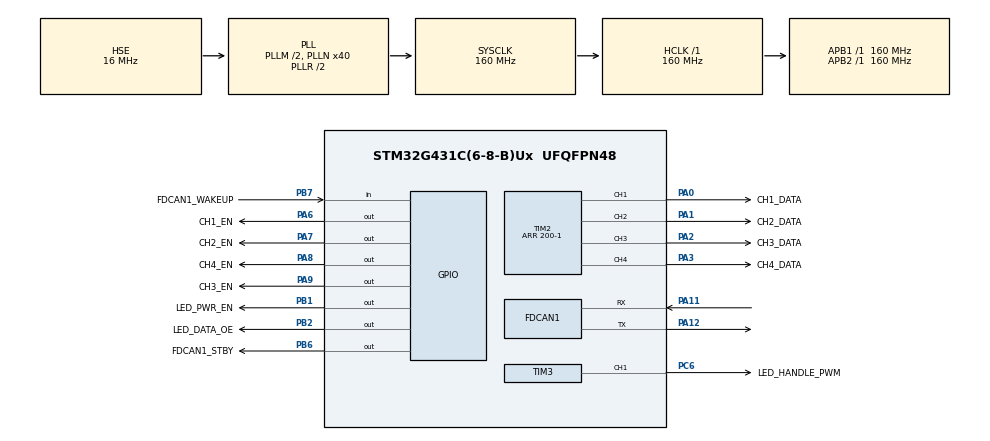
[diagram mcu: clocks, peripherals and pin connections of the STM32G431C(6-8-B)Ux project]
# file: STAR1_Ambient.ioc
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Dma.Request0=TIM2_CH1
Dma.Request1=TIM2_CH2
Dma.Request2=TIM2_CH3
Dma.Request3=TIM2_CH4
Dma.TIM2_CH1.0.Direction=DMA_MEMORY_TO_PERIPH
Dma.TIM2_CH1.0.EventEnable=DISABLE
Dma.TIM2_CH1.0.Instance=DMA1_Channel1
Dma.TIM2_CH1.0.MemDataAlignment=DMA_MDATAALIGN_WORD
Dma.TIM2_CH1.0.MemInc=DMA_MINC_ENABLE
Dma.TIM2_CH1.0.Mode=DMA_NORMAL
Dma.TIM2_CH1.0.PeriphDataAlignment=DMA_PDATAALIGN_WORD
Dma.TIM2_CH1.0.PeriphInc=DMA_PINC_DISABLE
Dma.TIM2_CH1.0.Polarity=HAL_DMAMUX_REQ_GEN_RISING
Dma.TIM2_CH1.0.Priority=DMA_PRIORITY_VERY_HIGH
Dma.TIM2_CH1.0.RequestNumber=1
Dma.TIM2_CH1.0.SignalID=NONE
Dma.TIM2_CH1.0.SyncEnable=DISABLE
Dma.TIM2_CH1.0.SyncPolarity=HAL_DMAMUX_SYNC_NO_EVENT
Dma.TIM2_CH1.0.SyncRequestNumber=1
Dma.TIM2_CH1.0.SyncSignalID=NONE
Dma.TIM2_CH2.1.Direction=DMA_MEMORY_TO_PERIPH
Dma.TIM2_CH2.1.EventEnable=DISABLE
Dma.TIM2_CH2.1.Instance=DMA1_Channel2
Dma.TIM2_CH2.1.MemDataAlignment=DMA_MDATAALIGN_WORD
Dma.TIM2_CH2.1.MemInc=DMA_MINC_ENABLE
Dma.TIM2_CH2.1.Mode=DMA_NORMAL
Dma.TIM2_CH2.1.PeriphDataAlignment=DMA_PDATAALIGN_WORD
Dma.TIM2_CH2.1.PeriphInc=DMA_PINC_DISABLE
Dma.TIM2_CH2.1.Polarity=HAL_DMAMUX_REQ_GEN_RISING
Dma.TIM2_CH2.1.Priority=DMA_PRIORITY_HIGH
Dma.TIM2_CH2.1.RequestNumber=1
Dma.TIM2_CH2.1.SignalID=NONE
Dma.TIM2_CH2.1.SyncEnable=DISABLE
Dma.TIM2_CH2.1.SyncPolarity=HAL_DMAMUX_SYNC_NO_EVENT
Dma.TIM2_CH2.1.SyncRequestNumber=1
Dma.TIM2_CH2.1.SyncSignalID=NONE
Dma.TIM2_CH3.2.Direction=DMA_MEMORY_TO_PERIPH
Dma.TIM2_CH3.2.EventEnable=DISABLE
Dma.TIM2_CH3.2.Instance=DMA1_Channel3
Dma.TIM2_CH3.2.MemDataAlignment=DMA_MDATAALIGN_WORD
Dma.TIM2_CH3.2.MemInc=DMA_MINC_ENABLE
Dma.TIM2_CH3.2.Mode=DMA_NORMAL
Dma.TIM2_CH3.2.PeriphDataAlignment=DMA_PDATAALIGN_WORD
Dma.TIM2_CH3.2.PeriphInc=DMA_PINC_DISABLE
Dma.TIM2_CH3.2.Polarity=HAL_DMAMUX_REQ_GEN_RISING
Dma.TIM2_CH3.2.Priority=DMA_PRIORITY_HIGH
Dma.TIM2_CH3.2.RequestNumber=1
Dma.TIM2_CH3.2.SignalID=NONE
Dma.TIM2_CH3.2.SyncEnable=DISABLE
Dma.TIM2_CH3.2.SyncPolarity=HAL_DMAMUX_SYNC_NO_EVENT
Dma.TIM2_CH3.2.SyncRequestNumber=1
Dma.TIM2_CH3.2.SyncSignalID=NONE
Dma.TIM2_CH4.3.Direction=DMA_MEMORY_TO_PERIPH
Dma.TIM2_CH4.3.EventEnable=DISABLE
Dma.TIM2_CH4.3.Instance=DMA1_Channel4
Dma.TIM2_CH4.3.MemDataAlignment=DMA_MDATAALIGN_WORD
Dma.TIM2_CH4.3.MemInc=DMA_MINC_ENABLE
Dma.TIM2_CH4.3.Mode=DMA_NORMAL
Dma.TIM2_CH4.3.PeriphDataAlignment=DMA_PDATAALIGN_WORD
Dma.TIM2_CH4.3.PeriphInc=DMA_PINC_DISABLE
Dma.TIM2_CH4.3.Polarity=HAL_DMAMUX_REQ_GEN_RISING
Dma.TIM2_CH4.3.Priority=DMA_PRIORITY_HIGH
Dma.TIM2_CH4.3.RequestNumber=1
Dma.TIM2_CH4.3.SignalID=NONE
Dma.TIM2_CH4.3.SyncEnable=DISABLE
Dma.TIM2_CH4.3.SyncPolarity=HAL_DMAMUX_SYNC_NO_EVENT
Dma.TIM2_CH4.3.SyncRequestNumber=1
Dma.TIM2_CH4.3.SyncSignalID=NONE
FDCAN1.AutoRetransmission=ENABLE
FDCAN1.CalculateBaudRateNominal=125000
FDCAN1.CalculateTimeBitNominal=8000
FDCAN1.CalculateTimeQuantumNominal=500.0
FDCAN1.ClockDivider=FDCAN_CLOCK_DIV1
FDCAN1.NominalPrescaler=40
FDCAN1.NominalTimeSeg1=13
FDCAN1.NominalTimeSeg2=2
IWDG.Prescaler=IWDG_PRESCALER_64
Mcu.Family=STM32G4
Mcu.Name=STM32G431C(6-8-B)Ux
Mcu.Package=UFQFPN48
NVIC.DMA1_Channel1_IRQn=true\:0\:0\:false\:false\:true\:false\:true\:true
NVIC.DMA1_Channel2_IRQn=true\:0\:0\:false\:false\:true\:false\:true\:true
NVIC.DMA1_Channel3_IRQn=true\:0\:0\:false\:false\:true\:false\:true\:true
NVIC.DMA1_Channel4_IRQn=true\:0\:0\:false\:false\:true\:false\:true\:true
NVIC.FDCAN1_IT0_IRQn=true\:0\:0\:false\:false\:true\:true\:true\:true
NVIC.FDCAN1_IT1_IRQn=true\:0\:0\:false\:false\:true\:true\:true\:true
NVIC.PriorityGroup=NVIC_PRIORITYGROUP_4
PA0.GPIO_Label=CH1_DATA
PA0.GPIO_Speed=GPIO_SPEED_FREQ_HIGH
PA0.Signal=S_TIM2_CH1
PA1.GPIO_Label=CH2_DATA
PA1.GPIO_Speed=GPIO_SPEED_FREQ_HIGH
PA1.Signal=S_TIM2_CH2
PA11.GPIO_Mode=GPIO_MODE_AF_PP
PA11.GPIO_Speed=GPIO_SPEED_FREQ_HIGH
PA11.Mode=FDCAN_Activate
PA11.Signal=FDCAN1_RX
PA12.GPIO_Mode=GPIO_MODE_AF_PP
PA12.GPIO_Speed=GPIO_SPEED_FREQ_HIGH
PA12.Mode=FDCAN_Activate
PA12.Signal=FDCAN1_TX
PA13.Mode=Serial_Wire
PA13.Signal=SYS_JTMS-SWDIO
PA14.Mode=Serial_Wire
PA14.Signal=SYS_JTCK-SWCLK
PA2.GPIO_Label=CH3_DATA
PA2.GPIO_Speed=GPIO_SPEED_FREQ_HIGH
PA2.Signal=S_TIM2_CH3
PA3.GPIO_Label=CH4_DATA
PA3.GPIO_Speed=GPIO_SPEED_FREQ_HIGH
PA3.Signal=S_TIM2_CH4
PA6.GPIO_Label=CH1_EN
PA6.Signal=GPIO_Output
PA7.GPIO_Label=CH2_EN
PA7.Signal=GPIO_Output
PA8.GPIO_Label=CH4_EN
PA8.Signal=GPIO_Output
PA9.GPIO_Label=CH3_EN
PA9.Signal=GPIO_Output
PB1.GPIO_Label=LED_PWR_EN
PB1.Signal=GPIO_Output
PB2.GPIO_Label=LED_DATA_OE
PB2.PinState=GPIO_PIN_SET
PB2.Signal=GPIO_Output
PB6.GPIO_Label=FDCAN1_STBY
PB6.PinState=GPIO_PIN_SET
PB6.Signal=GPIO_Output
PB7.GPIO_Label=FDCAN1_WAKEUP
PB7.Signal=GPIO_Input
PC6.GPIO_Label=LED_HANDLE_PWM
PC6.Signal=S_TIM3_CH1
PF0-OSC_IN.Mode=HSE-External-Oscillator
PF0-OSC_IN.Signal=RCC_OSC_IN
PF1-OSC_OUT.Mode=HSE-External-Oscillator
PF1-OSC_OUT.Signal=RCC_OSC_OUT
ProjectManager.HeapSize=0x200
ProjectManager.StackSize=0x400
ProjectManager.TargetToolchain=STM32CubeIDE
RCC.ADC12Freq_Value=160000000
RCC.AHBFreq_Value=160000000
RCC.APB1Freq_Value=160000000
RCC.APB1TimFreq_Value=160000000
RCC.APB2Freq_Value=160000000
RCC.APB2TimFreq_Value=160000000
RCC.CortexFreq_Value=160000000
RCC.EXTERNAL_CLOCK_VALUE=12288000
RCC.FDCANCLockSelection=RCC_FDCANCLKSOURCE_PLL
RCC.HCLKFreq_Value=160000000
RCC.HSE_VALUE=16000000
RCC.HSI48_VALUE=48000000
RCC.HSI_VALUE=16000000
RCC.LSE_VALUE=32768
RCC.PLLM=RCC_PLLM_DIV2
RCC.PLLN=40
RCC.PLLQ=RCC_PLLQ_DIV4
RCC.PLLSourceVirtual=RCC_PLLSOURCE_HSE
RCC.SYSCLKFreq_VALUE=160000000
RCC.SYSCLKSource=RCC_SYSCLKSOURCE_PLLCLK
RCC.USBFreq_Value=80000000
RCC.VCOOutputFreq_Value=320000000
SH.S_TIM2_CH1.0=TIM2_CH1,PWM Generation1 CH1
SH.S_TIM2_CH2.0=TIM2_CH2,PWM Generation2 CH2
SH.S_TIM2_CH3.0=TIM2_CH3,PWM Generation3 CH3
SH.S_TIM2_CH4.0=TIM2_CH4,PWM Generation4 CH4
SH.S_TIM3_CH1.0=TIM3_CH1,PWM Generation1 CH1
TIM2.Channel-PWM\ Generation1\ CH1=TIM_CHANNEL_1
TIM2.Channel-PWM\ Generation2\ CH2=TIM_CHANNEL_2
TIM2.Channel-PWM\ Generation3\ CH3=TIM_CHANNEL_3
TIM2.Channel-PWM\ Generation4\ CH4=TIM_CHANNEL_4
TIM2.PeriodNoDither=200-1
TIM3.AutoReloadPreload=TIM_AUTORELOAD_PRELOAD_DISABLE
TIM3.Channel-PWM\ Generation1\ CH1=TIM_CHANNEL_1
TIM3.PeriodNoDither=49
TIM3.Prescaler=159
VP_IWDG_VS_IWDG.Mode=IWDG_Activate
VP_SYS_VS_DBSignals.Mode=DisableDeadBatterySignals
VP_TIM2_VS_ClockSourceINT.Mode=Internal
VP_TIM3_VS_ClockSourceINT.Mode=Internal
board=custom

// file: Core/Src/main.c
/* USER CODE BEGIN Header */
/**
 ******************************************************************************
 * @file           : main.c
 * @brief          : Main program body
 ******************************************************************************
 * @attention
 *
 * Copyright (c) 2025 STMicroelectronics.
 * All rights reserved.
 *
 * This software is licensed under terms that can be found in the LICENSE file
 * in the root directory of this software component.
 * If no LICENSE file comes with this software, it is provided AS-IS.
 *
 ******************************************************************************
 */
/* USER CODE END Header */
#include "main.h"

/* USER CODE BEGIN Includes */
#include "board_selected.h" /* defines BOARD_TYPE for the whole firmware build. */
#include "board_dispatch.h"
#include "base_scene.h"
#include "director.h"
#include "event_layer.h"
#include "zones.h"
#include "zone_roles.h"
#include "ambient.h"
#include "ambient_config.h"
#include "handle_pwm.h"
#include "runtime_event_queue.h"
#include "runtime_debug_hooks.h"
#include "runtime_flow.h"
#include "app_runtime.h"
#include <string.h>
/* USER CODE END Includes */

#if AMB_ENABLE_WATCHDOG
#if (AMB_STOP_WDG_WAKEUP_SEC * 1000u) >= AMB_WATCHDOG_TIMEOUT_MS
#error "AMB_STOP_WDG_WAKEUP_SEC must be lower than AMB_WATCHDOG_TIMEOUT_MS."
#endif
#endif

FDCAN_HandleTypeDef hfdcan1;

IWDG_HandleTypeDef hiwdg;

TIM_HandleTypeDef htim2;
TIM_HandleTypeDef htim3;
DMA_HandleTypeDef hdma_tim2_ch1;
DMA_HandleTypeDef hdma_tim2_ch2;
DMA_HandleTypeDef hdma_tim2_ch3;
DMA_HandleTypeDef hdma_tim2_ch4;

/* USER CODE BEGIN PV */
base_scene_t g_base_scene;             // base scene
director_t g_director;                 // orchestration/director layer
oem_color_id_t g_oem_color;            // current OEM color selector

uint32_t g_last_tick_ms = 0;          // delta_ms source for runtime tick

static uint8_t g_can_protocol_started = 0;  // first OEM packet received
static uint32_t g_can_protocol_start_ms = 0;
static uint32_t g_wait_oem_enter_ms = 0u;
static uint8_t g_wait_oem_after_wake = 0u;

#if AMB_ENABLE_SLEEP_MODE
static uint8_t g_sleep_fade_active = 0;      // sleep fade-out is active
static uint32_t g_sleep_fade_start_ms = 0;   // sleep fade start timestamp
static float g_sleep_fade_start_brightness = 1.0f; // brightness at fade start
#endif
static runtime_mode_t g_runtime_state = RUNTIME_BOOT;
static runtime_flow_ctx_t g_runtime_flow;

/* USER CODE END PV */

void SystemClock_Config(void);
static void MX_GPIO_Init(void);
static void MX_DMA_Init(void);
static void MX_FDCAN1_Init(void);
static void MX_IWDG_Init(void);
static void MX_TIM2_Init(void);
static void MX_TIM3_Init(void);
#if AMB_ENABLE_SLEEP_MODE && AMB_ENABLE_WATCHDOG
static void rtc_wakeup_init_1hz(void);
static void rtc_wakeup_start_1s(void);
static void rtc_wakeup_stop(void);
#endif

/* USER CODE BEGIN 0 */

#if AMB_ENABLE_SLEEP_MODE
/**
 * @brief Configure PA11 (FDCAN_RX) as EXTI wake source for STOP mode.
 */
static void configure_can_rx_exti_wakeup(void)
{
    GPIO_InitTypeDef GPIO_InitStruct = {0};

    /* Reconfigure PA11 as EXTI input (falling edge). */
    GPIO_InitStruct.Pin = GPIO_PIN_11;
    GPIO_InitStruct.Mode = GPIO_MODE_IT_FALLING;  /* CAN dominant = low */
    GPIO_InitStruct.Pull = GPIO_PULLUP;
    HAL_GPIO_Init(GPIOA, &GPIO_InitStruct);

    __HAL_GPIO_EXTI_CLEAR_IT(GPIO_PIN_11);

    /* Enable EXTI IRQs. */
    HAL_NVIC_SetPriority(EXTI15_10_IRQn, 0, 0);
    HAL_NVIC_EnableIRQ(EXTI15_10_IRQn);

#if AMB_ENABLE_TRANSCEIVER_WAKE_PIN
    /* Additional wake source from CAN transceiver WAKE/INT (PB7). */
    GPIO_InitStruct.Pin = FDCAN1_WAKEUP_Pin;
    GPIO_InitStruct.Mode = GPIO_MODE_IT_RISING_FALLING;
    GPIO_InitStruct.Pull = GPIO_NOPULL;
    HAL_GPIO_Init(FDCAN1_WAKEUP_GPIO_Port, &GPIO_InitStruct);
    __HAL_GPIO_EXTI_CLEAR_IT(FDCAN1_WAKEUP_Pin);
    HAL_NVIC_SetPriority(EXTI9_5_IRQn, 0, 0);
    HAL_NVIC_EnableIRQ(EXTI9_5_IRQn);
#endif
}

/**
 * @brief Restore PA11 as FDCAN_RX after wakeup.
 */
static void restore_can_rx_af(void)
{
    GPIO_InitTypeDef GPIO_InitStruct = {0};

    /* Disable EXTI IRQs. */
    HAL_NVIC_DisableIRQ(EXTI15_10_IRQn);
#if AMB_ENABLE_TRANSCEIVER_WAKE_PIN
    HAL_NVIC_DisableIRQ(EXTI9_5_IRQn);
#endif
    __HAL_GPIO_EXTI_CLEAR_IT(GPIO_PIN_11);
#if AMB_ENABLE_TRANSCEIVER_WAKE_PIN
    __HAL_GPIO_EXTI_CLEAR_IT(FDCAN1_WAKEUP_Pin);
#endif

    /* Restore alternate-function mapping for FDCAN. */
    GPIO_InitStruct.Pin = GPIO_PIN_11 | GPIO_PIN_12;
    GPIO_InitStruct.Mode = GPIO_MODE_AF_PP;
    GPIO_InitStruct.Pull = GPIO_NOPULL;
    GPIO_InitStruct.Speed = GPIO_SPEED_FREQ_HIGH;
    GPIO_InitStruct.Alternate = GPIO_AF9_FDCAN1;
    HAL_GPIO_Init(GPIOA, &GPIO_InitStruct);

#if AMB_ENABLE_TRANSCEIVER_WAKE_PIN
    /* Restore PB7 to normal GPIO input (without EXTI). */
    GPIO_InitStruct.Pin = FDCAN1_WAKEUP_Pin;
    GPIO_InitStruct.Mode = GPIO_MODE_INPUT;
    GPIO_InitStruct.Pull = GPIO_NOPULL;
    HAL_GPIO_Init(FDCAN1_WAKEUP_GPIO_Port, &GPIO_InitStruct);
#endif
}
#endif

#if AMB_ENABLE_SLEEP_MODE && AMB_ENABLE_WATCHDOG
/**
 * @brief Initialize RTC wakeup time base (LSI -> RTC, 1Hz ck_spre).
 */
static void rtc_wakeup_init_1hz(void)
{
    __HAL_RCC_PWR_CLK_ENABLE();
    HAL_PWR_EnableBkUpAccess();

    __HAL_RCC_LSI_ENABLE();
    while (__HAL_RCC_GET_FLAG(RCC_FLAG_LSIRDY) == RESET) {
    }

    if (__HAL_RCC_GET_RTC_SOURCE() != RCC_RTCCLKSOURCE_LSI) {
        __HAL_RCC_BACKUPRESET_FORCE();
        __HAL_RCC_BACKUPRESET_RELEASE();
        __HAL_RCC_RTC_CONFIG(RCC_RTCCLKSOURCE_LSI);
    }

    __HAL_RCC_RTC_ENABLE();
    __HAL_RCC_RTCAPB_CLK_ENABLE();

    /* Disable write protection */
    RTC->WPR = 0xCA;
    RTC->WPR = 0x53;

    /* Enter init mode */
    RTC->ICSR |= RTC_ICSR_INIT;
    while ((RTC->ICSR & RTC_ICSR_INITF) == 0u) {
    }

    /* 1Hz ck_spre from 32k-ish LSI: 32768 / ((127+1)*(255+1)) = 1Hz */
    RTC->PRER = ((uint32_t)127u << 16) | 255u;

    /* Exit init mode */
    RTC->ICSR &= ~RTC_ICSR_INIT;

    /* Keep wakeup timer disabled until sleep entry */
    RTC->CR &= ~(RTC_CR_WUTE | RTC_CR_WUTIE | RTC_CR_WUCKSEL);
    RTC->SCR = RTC_SCR_CWUTF;

    /* Enable write protection */
    RTC->WPR = 0xFF;
}

/**
 * @brief Start periodic RTC wakeup IRQ at 1-second interval.
 */
static void rtc_wakeup_start_1s(void)
{
    uint32_t wakeup_period_s = AMB_STOP_WDG_WAKEUP_SEC;

    __HAL_RCC_RTCAPB_CLK_ENABLE();

    RTC->WPR = 0xCA;
    RTC->WPR = 0x53;

    /* Disable WUT and wait for write access */
    RTC->CR &= ~RTC_CR_WUTE;
    while ((RTC->ICSR & RTC_ICSR_WUTWF) == 0u) {
    }

    /* ck_spre (1Hz), period = WUTR+1 => AMB_STOP_WDG_WAKEUP_SEC seconds */
    if (wakeup_period_s == 0u) wakeup_period_s = 1u;
    if (wakeup_period_s > 0x10000u) wakeup_period_s = 0x10000u;
    RTC->WUTR = wakeup_period_s - 1u;
    RTC->CR = (RTC->CR & ~RTC_CR_WUCKSEL) | RTC_CR_WUCKSEL_2;
    RTC->SCR = RTC_SCR_CWUTF;

    EXTI->PR1 = EXTI_PR1_PIF20;
    EXTI->IMR1 |= EXTI_IMR1_IM20;
    EXTI->RTSR1 |= EXTI_RTSR1_RT20;
    EXTI->FTSR1 &= ~EXTI_FTSR1_FT20;

    NVIC_SetPriority(RTC_WKUP_IRQn, 0);
    NVIC_EnableIRQ(RTC_WKUP_IRQn);

    RTC->CR |= RTC_CR_WUTIE;
    RTC->CR |= RTC_CR_WUTE;

    RTC->WPR = 0xFF;
}

/**
 * @brief Stop RTC wakeup IRQ.
 */
static void rtc_wakeup_stop(void)
{
    __HAL_RCC_RTCAPB_CLK_ENABLE();

    RTC->WPR = 0xCA;
    RTC->WPR = 0x53;

    RTC->CR &= ~(RTC_CR_WUTIE | RTC_CR_WUTE);
    RTC->SCR = RTC_SCR_CWUTF;

    RTC->WPR = 0xFF;

    EXTI->IMR1 &= ~EXTI_IMR1_IM20;
    EXTI->RTSR1 &= ~EXTI_RTSR1_RT20;
    EXTI->FTSR1 &= ~EXTI_FTSR1_FT20;
    EXTI->PR1 = EXTI_PR1_PIF20;

    NVIC_DisableIRQ(RTC_WKUP_IRQn);
}
#endif

/* USER CODE END 0 */

int main(void)
{

  /* MCU Configuration--------------------------------------------------------*/

  /* Reset of all peripherals, Initializes the Flash interface and the Systick. */
  HAL_Init();

  /* Configure the system clock */
  SystemClock_Config();

  /* Initialize all configured peripherals */
  MX_GPIO_Init();
  MX_DMA_Init();
  MX_FDCAN1_Init();
  MX_IWDG_Init();
  MX_TIM2_Init();
  MX_TIM3_Init();
  /* USER CODE BEGIN 2 */

#if AMB_ENABLE_SLEEP_MODE && AMB_ENABLE_WATCHDOG
	rtc_wakeup_init_1hz();
#endif

	// 1) Initialize board (TIM2 + all LED lines/zones, power off by default)
	board_dispatch_led_init();
	handle_pwm_init(&htim3, TIM_CHANNEL_1);
	handle_pwm_set_brightness_pct(100u);

	// 2) Initialize CAN ambient stack (loads settings from Flash)
	can_ambient_init(&hfdcan1);
	runtime_event_queue_init();
	runtime_debug_hooks_init();
	runtime_debug_hooks_set_self_check_ok(zone_roles_debug_self_check());

	// 3) Seed defaults (will be updated from CAN)
	g_oem_color = OEM_COLOR_AMBER;

	// 4) Initialize runtime scene/director layers
	base_scene_init(&g_base_scene);
	director_init(&g_director);
	event_layer_init();
	memset(&g_runtime_flow, 0, sizeof(g_runtime_flow));
	g_runtime_flow.runtime_state = &g_runtime_state;
	g_runtime_flow.can_protocol_started = &g_can_protocol_started;
	g_runtime_flow.can_protocol_start_ms = &g_can_protocol_start_ms;
	g_runtime_flow.wait_oem_enter_ms = &g_wait_oem_enter_ms;
	g_runtime_flow.wait_oem_after_wake = &g_wait_oem_after_wake;
	g_runtime_flow.last_tick_ms = &g_last_tick_ms;
#if AMB_ENABLE_SLEEP_MODE
	g_runtime_flow.sleep_fade_active = &g_sleep_fade_active;
	g_runtime_flow.sleep_fade_start_ms = &g_sleep_fade_start_ms;
	g_runtime_flow.sleep_fade_start_brightness = &g_sleep_fade_start_brightness;
#endif
	g_runtime_flow.base_scene = &g_base_scene;
	g_runtime_flow.director = &g_director;
	g_runtime_flow.oem_color = &g_oem_color;
	g_runtime_flow.watchdog = &hiwdg;
	g_runtime_flow.system_clock_restore = SystemClock_Config;
#if AMB_ENABLE_SLEEP_MODE
	g_runtime_flow.prepare_wakeup_io = configure_can_rx_exti_wakeup;
	g_runtime_flow.restore_after_wake = restore_can_rx_af;
#if AMB_ENABLE_WATCHDOG
	g_runtime_flow.rtc_wakeup_start = rtc_wakeup_start_1s;
	g_runtime_flow.rtc_wakeup_stop = rtc_wakeup_stop;
#endif
#endif

	runtime_flow_set_state(&g_runtime_flow, RUNTIME_WAIT_OEM);
	// In normal mode, scene stays in BASE_SCENE_IDLE until first OEM CAN packet.

	g_last_tick_ms = HAL_GetTick();

  /* USER CODE END 2 */

  /* Infinite loop */
	while (1) {

    /* USER CODE BEGIN 3 */
		app_runtime_tick(&g_runtime_flow,
						 &g_last_tick_ms,
						 &g_can_protocol_started,
						 &g_can_protocol_start_ms);
		if (app_runtime_should_idle_wfi()) {
			__WFI();
		}

#if AMB_ENABLE_WATCHDOG
		/* Feed watchdog to prevent reset */
		HAL_IWDG_Refresh(&hiwdg);
#endif
	}
  /* USER CODE END 3 */
}

void SystemClock_Config(void)
{
  RCC_OscInitTypeDef RCC_OscInitStruct = {0};
  RCC_ClkInitTypeDef RCC_ClkInitStruct = {0};

  /** Configure the main internal regulator output voltage
  */
  HAL_PWREx_ControlVoltageScaling(PWR_REGULATOR_VOLTAGE_SCALE1_BOOST);

  /** Initializes the RCC Oscillators according to the specified parameters
  * in the RCC_OscInitTypeDef structure.
  */
  RCC_OscInitStruct.OscillatorType = RCC_OSCILLATORTYPE_LSI|RCC_OSCILLATORTYPE_HSE;
  RCC_OscInitStruct.HSEState = RCC_HSE_ON;
  RCC_OscInitStruct.LSIState = RCC_LSI_ON;
  RCC_OscInitStruct.PLL.PLLState = RCC_PLL_ON;
  RCC_OscInitStruct.PLL.PLLSource = RCC_PLLSOURCE_HSE;
  RCC_OscInitStruct.PLL.PLLM = RCC_PLLM_DIV2;
  RCC_OscInitStruct.PLL.PLLN = 40;
  RCC_OscInitStruct.PLL.PLLP = RCC_PLLP_DIV2;
  RCC_OscInitStruct.PLL.PLLQ = RCC_PLLQ_DIV4;
  RCC_OscInitStruct.PLL.PLLR = RCC_PLLR_DIV2;
  if (HAL_RCC_OscConfig(&RCC_OscInitStruct) != HAL_OK)
  {
    Error_Handler();
  }

  /** Initializes the CPU, AHB and APB buses clocks
  */
  RCC_ClkInitStruct.ClockType = RCC_CLOCKTYPE_HCLK|RCC_CLOCKTYPE_SYSCLK
                              |RCC_CLOCKTYPE_PCLK1|RCC_CLOCKTYPE_PCLK2;
  RCC_ClkInitStruct.SYSCLKSource = RCC_SYSCLKSOURCE_PLLCLK;
  RCC_ClkInitStruct.AHBCLKDivider = RCC_SYSCLK_DIV1;
  RCC_ClkInitStruct.APB1CLKDivider = RCC_HCLK_DIV1;
  RCC_ClkInitStruct.APB2CLKDivider = RCC_HCLK_DIV1;

  if (HAL_RCC_ClockConfig(&RCC_ClkInitStruct, FLASH_LATENCY_4) != HAL_OK)
  {
    Error_Handler();
  }
}

static void MX_FDCAN1_Init(void)
{

  hfdcan1.Instance = FDCAN1;
  hfdcan1.Init.ClockDivider = FDCAN_CLOCK_DIV1;
  hfdcan1.Init.FrameFormat = FDCAN_FRAME_CLASSIC;
  hfdcan1.Init.Mode = FDCAN_MODE_NORMAL;
  hfdcan1.Init.AutoRetransmission = ENABLE;
  hfdcan1.Init.TransmitPause = DISABLE;
  hfdcan1.Init.ProtocolException = DISABLE;
  /* Stable 125 kbit/s for current clock tree (HSE=16 MHz, FDCAN from PLLQ=80 MHz).
   * NOTE: If clock tree is changed, recalculate this value explicitly. */
  hfdcan1.Init.NominalPrescaler = 40;
  hfdcan1.Init.NominalSyncJumpWidth = 1;
  hfdcan1.Init.NominalTimeSeg1 = 13;
  hfdcan1.Init.NominalTimeSeg2 = 2;
  hfdcan1.Init.DataPrescaler = 1;
  hfdcan1.Init.DataSyncJumpWidth = 1;
  hfdcan1.Init.DataTimeSeg1 = 1;
  hfdcan1.Init.DataTimeSeg2 = 1;
  hfdcan1.Init.StdFiltersNbr = 24;
  hfdcan1.Init.ExtFiltersNbr = 0;
  hfdcan1.Init.TxFifoQueueMode = FDCAN_TX_FIFO_OPERATION;
  if (HAL_FDCAN_Init(&hfdcan1) != HAL_OK)
  {
    Error_Handler();
  }

}

static void MX_IWDG_Init(void)
{

  hiwdg.Instance = IWDG;
  hiwdg.Init.Prescaler = IWDG_PRESCALER_64;
  hiwdg.Init.Window = 4095;
  hiwdg.Init.Reload = 4095;
  if (HAL_IWDG_Init(&hiwdg) != HAL_OK)
  {
    Error_Handler();
  }

}

static void MX_TIM2_Init(void)
{

  TIM_ClockConfigTypeDef sClockSourceConfig = {0};
  TIM_MasterConfigTypeDef sMasterConfig = {0};
  TIM_OC_InitTypeDef sConfigOC = {0};

  htim2.Instance = TIM2;
  htim2.Init.Prescaler = 0;
  htim2.Init.CounterMode = TIM_COUNTERMODE_UP;
  htim2.Init.Period = 199;
  htim2.Init.ClockDivision = TIM_CLOCKDIVISION_DIV1;
  htim2.Init.AutoReloadPreload = TIM_AUTORELOAD_PRELOAD_DISABLE;
  if (HAL_TIM_Base_Init(&htim2) != HAL_OK)
  {
    Error_Handler();
  }
  sClockSourceConfig.ClockSource = TIM_CLOCKSOURCE_INTERNAL;
  if (HAL_TIM_ConfigClockSource(&htim2, &sClockSourceConfig) != HAL_OK)
  {
    Error_Handler();
  }
  if (HAL_TIM_PWM_Init(&htim2) != HAL_OK)
  {
    Error_Handler();
  }
  sMasterConfig.MasterOutputTrigger = TIM_TRGO_RESET;
  sMasterConfig.MasterSlaveMode = TIM_MASTERSLAVEMODE_DISABLE;
  if (HAL_TIMEx_MasterConfigSynchronization(&htim2, &sMasterConfig) != HAL_OK)
  {
    Error_Handler();
  }
  sConfigOC.OCMode = TIM_OCMODE_PWM1;
  sConfigOC.Pulse = 0;
  sConfigOC.OCPolarity = TIM_OCPOLARITY_HIGH;
  sConfigOC.OCFastMode = TIM_OCFAST_DISABLE;
  if (HAL_TIM_PWM_ConfigChannel(&htim2, &sConfigOC, TIM_CHANNEL_1) != HAL_OK)
  {
    Error_Handler();
  }
  if (HAL_TIM_PWM_ConfigChannel(&htim2, &sConfigOC, TIM_CHANNEL_2) != HAL_OK)
  {
    Error_Handler();
  }
  if (HAL_TIM_PWM_ConfigChannel(&htim2, &sConfigOC, TIM_CHANNEL_3) != HAL_OK)
  {
    Error_Handler();
  }
  if (HAL_TIM_PWM_ConfigChannel(&htim2, &sConfigOC, TIM_CHANNEL_4) != HAL_OK)
  {
    Error_Handler();
  }
  HAL_TIM_MspPostInit(&htim2);

}

static void MX_TIM3_Init(void)
{

  TIM_ClockConfigTypeDef sClockSourceConfig = {0};
  TIM_MasterConfigTypeDef sMasterConfig = {0};
  TIM_OC_InitTypeDef sConfigOC = {0};

  htim3.Instance = TIM3;
  htim3.Init.Prescaler = 169;
  htim3.Init.CounterMode = TIM_COUNTERMODE_UP;
  htim3.Init.Period = 499;
  htim3.Init.ClockDivision = TIM_CLOCKDIVISION_DIV1;
  htim3.Init.AutoReloadPreload = TIM_AUTORELOAD_PRELOAD_DISABLE;
  if (HAL_TIM_Base_Init(&htim3) != HAL_OK)
  {
    Error_Handler();
  }
  sClockSourceConfig.ClockSource = TIM_CLOCKSOURCE_INTERNAL;
  if (HAL_TIM_ConfigClockSource(&htim3, &sClockSourceConfig) != HAL_OK)
  {
    Error_Handler();
  }
  if (HAL_TIM_PWM_Init(&htim3) != HAL_OK)
  {
    Error_Handler();
  }
  sMasterConfig.MasterOutputTrigger = TIM_TRGO_RESET;
  sMasterConfig.MasterSlaveMode = TIM_MASTERSLAVEMODE_DISABLE;
  if (HAL_TIMEx_MasterConfigSynchronization(&htim3, &sMasterConfig) != HAL_OK)
  {
    Error_Handler();
  }
  sConfigOC.OCMode = TIM_OCMODE_PWM1;
  sConfigOC.Pulse = 0;
  sConfigOC.OCPolarity = TIM_OCPOLARITY_HIGH;
  sConfigOC.OCFastMode = TIM_OCFAST_DISABLE;
  if (HAL_TIM_PWM_ConfigChannel(&htim3, &sConfigOC, TIM_CHANNEL_1) != HAL_OK)
  {
    Error_Handler();
  }
  HAL_TIM_MspPostInit(&htim3);

}

static void MX_DMA_Init(void)
{

  /* DMA controller clock enable */
  __HAL_RCC_DMAMUX1_CLK_ENABLE();
  __HAL_RCC_DMA1_CLK_ENABLE();

  /* DMA interrupt init */
  /* DMA1_Channel1_IRQn interrupt configuration */
  HAL_NVIC_SetPriority(DMA1_Channel1_IRQn, 0, 0);
  HAL_NVIC_EnableIRQ(DMA1_Channel1_IRQn);
  /* DMA1_Channel2_IRQn interrupt configuration */
  HAL_NVIC_SetPriority(DMA1_Channel2_IRQn, 0, 0);
  HAL_NVIC_EnableIRQ(DMA1_Channel2_IRQn);
  /* DMA1_Channel3_IRQn interrupt configuration */
  HAL_NVIC_SetPriority(DMA1_Channel3_IRQn, 0, 0);
  HAL_NVIC_EnableIRQ(DMA1_Channel3_IRQn);
  /* DMA1_Channel4_IRQn interrupt configuration */
  HAL_NVIC_SetPriority(DMA1_Channel4_IRQn, 0, 0);
  HAL_NVIC_EnableIRQ(DMA1_Channel4_IRQn);

}

static void MX_GPIO_Init(void)
{
  GPIO_InitTypeDef GPIO_InitStruct = {0};

  /* GPIO Ports Clock Enable */
  __HAL_RCC_GPIOF_CLK_ENABLE();
  __HAL_RCC_GPIOA_CLK_ENABLE();
  __HAL_RCC_GPIOB_CLK_ENABLE();
  __HAL_RCC_GPIOC_CLK_ENABLE();

  /*Configure GPIO pin Output Level */
  HAL_GPIO_WritePin(GPIOA, CH1_EN_Pin|CH2_EN_Pin|CH4_EN_Pin|CH3_EN_Pin, GPIO_PIN_RESET);

  /*Configure GPIO pin Output Level */
  HAL_GPIO_WritePin(LED_PWR_EN_GPIO_Port, LED_PWR_EN_Pin, GPIO_PIN_RESET);

  /*Configure GPIO pin Output Level */
  HAL_GPIO_WritePin(GPIOB, LED_DATA_OE_Pin, GPIO_PIN_SET);
  HAL_GPIO_WritePin(FDCAN1_STBY_GPIO_Port, FDCAN1_STBY_Pin, GPIO_PIN_RESET);

  /*Configure GPIO pins : CH1_EN_Pin CH2_EN_Pin CH4_EN_Pin CH3_EN_Pin */
  GPIO_InitStruct.Pin = CH1_EN_Pin|CH2_EN_Pin|CH4_EN_Pin|CH3_EN_Pin;
  GPIO_InitStruct.Mode = GPIO_MODE_OUTPUT_PP;
  GPIO_InitStruct.Pull = GPIO_NOPULL;
  GPIO_InitStruct.Speed = GPIO_SPEED_FREQ_LOW;
  HAL_GPIO_Init(GPIOA, &GPIO_InitStruct);

  /*Configure GPIO pins : LED_PWR_EN_Pin LED_DATA_OE_Pin FDCAN1_STBY_Pin */
  GPIO_InitStruct.Pin = LED_PWR_EN_Pin|LED_DATA_OE_Pin|FDCAN1_STBY_Pin;
  GPIO_InitStruct.Mode = GPIO_MODE_OUTPUT_PP;
  GPIO_InitStruct.Pull = GPIO_NOPULL;
  GPIO_InitStruct.Speed = GPIO_SPEED_FREQ_LOW;
  HAL_GPIO_Init(GPIOB, &GPIO_InitStruct);

  /*Configure GPIO pin : FDCAN1_WAKEUP_Pin */
  GPIO_InitStruct.Pin = FDCAN1_WAKEUP_Pin;
  GPIO_InitStruct.Mode = GPIO_MODE_INPUT;
  GPIO_InitStruct.Pull = GPIO_NOPULL;
  HAL_GPIO_Init(FDCAN1_WAKEUP_GPIO_Port, &GPIO_InitStruct);

  /* USER CODE BEGIN MX_GPIO_Init_2 */
#if defined(CH1_EN_Pin) && defined(CH1_EN_GPIO_Port)
  HAL_GPIO_WritePin(CH1_EN_GPIO_Port, CH1_EN_Pin, GPIO_PIN_RESET);
  GPIO_InitStruct.Pin = CH1_EN_Pin;
  GPIO_InitStruct.Mode = GPIO_MODE_OUTPUT_PP;
  GPIO_InitStruct.Pull = GPIO_NOPULL;
  GPIO_InitStruct.Speed = GPIO_SPEED_FREQ_LOW;
  HAL_GPIO_Init(CH1_EN_GPIO_Port, &GPIO_InitStruct);
#endif

#if defined(CH2_EN_Pin) && defined(CH2_EN_GPIO_Port)
  HAL_GPIO_WritePin(CH2_EN_GPIO_Port, CH2_EN_Pin, GPIO_PIN_RESET);
  GPIO_InitStruct.Pin = CH2_EN_Pin;
  GPIO_InitStruct.Mode = GPIO_MODE_OUTPUT_PP;
  GPIO_InitStruct.Pull = GPIO_NOPULL;
  GPIO_InitStruct.Speed = GPIO_SPEED_FREQ_LOW;
  HAL_GPIO_Init(CH2_EN_GPIO_Port, &GPIO_InitStruct);
#endif

#if defined(CH3_EN_Pin) && defined(CH3_EN_GPIO_Port)
  HAL_GPIO_WritePin(CH3_EN_GPIO_Port, CH3_EN_Pin, GPIO_PIN_RESET);
  GPIO_InitStruct.Pin = CH3_EN_Pin;
  GPIO_InitStruct.Mode = GPIO_MODE_OUTPUT_PP;
  GPIO_InitStruct.Pull = GPIO_NOPULL;
  GPIO_InitStruct.Speed = GPIO_SPEED_FREQ_LOW;
  HAL_GPIO_Init(CH3_EN_GPIO_Port, &GPIO_InitStruct);
#endif

#if defined(CH4_EN_Pin) && defined(CH4_EN_GPIO_Port)
  HAL_GPIO_WritePin(CH4_EN_GPIO_Port, CH4_EN_Pin, GPIO_PIN_RESET);
  GPIO_InitStruct.Pin = CH4_EN_Pin;
  GPIO_InitStruct.Mode = GPIO_MODE_OUTPUT_PP;
  GPIO_InitStruct.Pull = GPIO_NOPULL;
  GPIO_InitStruct.Speed = GPIO_SPEED_FREQ_LOW;
  HAL_GPIO_Init(CH4_EN_GPIO_Port, &GPIO_InitStruct);
#endif

  /* USER CODE END MX_GPIO_Init_2 */
}

/* USER CODE BEGIN 4 */

void HAL_TIM_PWM_PulseFinishedCallback(TIM_HandleTypeDef *htim)
{
    board_dispatch_dma_tc(htim);
}

void HAL_FDCAN_RxFifo0Callback(FDCAN_HandleTypeDef *hfdcan, uint32_t RxFifo0ITs)
{
    FDCAN_RxHeaderTypeDef rx_header;
    uint8_t rx_data[8];
    uint8_t max_messages = 10;  /* Processing budget per callback to avoid long ISR loops. */

    if ((RxFifo0ITs & FDCAN_IT_RX_FIFO0_NEW_MESSAGE) != 0) {
        while (max_messages-- > 0 &&
               HAL_FDCAN_GetRxMessage(hfdcan, FDCAN_RX_FIFO0, &rx_header, rx_data) == HAL_OK) {
            uint8_t dlc = rx_header.DataLength;
            runtime_debug_hooks_note_can_rx(rx_header.Identifier, HAL_GetTick());
            if (dlc <= 8) {  /* Validate payload length. */
                (void)runtime_event_queue_push_isr(rx_header.Identifier, rx_data, dlc);
            }
        }
    }
}
/* USER CODE END 4 */

void Error_Handler(void)
{
	__disable_irq();
	while (1) {
	}
}
